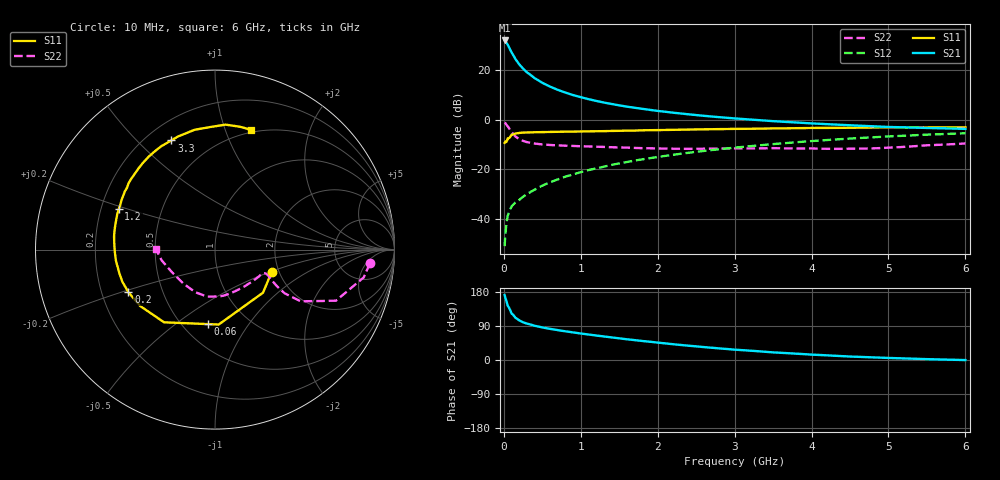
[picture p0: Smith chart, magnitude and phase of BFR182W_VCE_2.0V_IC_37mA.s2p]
! Infineon Technologies  Discrete & RF Semiconductors
! BFR182W
! VCE =  2.0 V,  IC =  37 mA
! Common Emitter S-Parameters:  Jan 2017
# GHz  S  MA  R  50
!  f  S11  S21  S12  S22
! GHz  MAG  ANG  MAG  ANG  MAG  ANG  MAG  ANG
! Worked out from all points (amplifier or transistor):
!   77 points, 10 MHz to 6 GHz, reference 50 ohm
!   highest |S21| = 31.9 dB at 10 MHz (marker M1)
!   |S21| within 3 dB of that: start of sweep to 71 MHz
!   unconditionally stable (mu >= 1): start of sweep to 10.64 MHz; 272.1 MHz to 2.873 GHz
!   at 130 MHz: K = 0.69, MSG = 29.8 dB, |S12| = -34.1 dB
!   at 2.2 GHz: K = 1.07, MAG = 6.8 dB, |S12| = -14.2 dB
!   at 6 GHz: K = 0.99, MSG = 0.9 dB, |S12| = -5.5 dB
!   S11 on the Smith chart (normalised r, x): 10 MHz: 1.82, -0.52; 60 MHz: 0.66, -0.66; 200 MHz: 0.32, -0.21; 1.2 GHz: 0.27, +0.19; 3.3 GHz: 0.30, +0.64; 6 GHz: 0.48, +1.23
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0.01  0.3396 -22.0  39.37 171.6  0.0028 73.7  0.8665 -5.1
0.02  0.3594 -41.9  38.69 163.8  0.0049 80.6  0.8431 -10.6
0.05  0.4181 -87.2  32.35 143.4  0.0114 63.0  0.7316 -22.9
0.06  0.4171 -95.6  30.16 140.4  0.0126 61.5  0.6958 -24.2
0.1  0.4946 -125.0  22.66 122.8  0.0177 57.7  0.5575 -31.1
0.15  0.5229 -143.3  16.67 111.7  0.0212 56.8  0.4571 -32.1
0.2  0.5378 -153.8  13 104.7  0.024 58.3  0.4035 -30.7
0.25  0.5464 -160.9  10.65 99.5  0.0278 60.0  0.3718 -29.1
0.3  0.5489 -166.1  8.963 96.0  0.0314 62.0  0.3508 -27.7
0.4  0.5555 -173.7  6.835 90.3  0.0385 66.1  0.3286 -25.8
0.5  0.5589 -179.2  5.505 85.9  0.0466 68.3  0.3154 -25.3
0.7  0.5671 172.6  3.978 78.9  0.0621 71.3  0.3018 -25.8
0.9  0.5723 165.9  3.117 72.8  0.0783 72.1  0.2939 -28.1
1.1  0.5793 160.0  2.582 67.3  0.0957 72.9  0.2873 -31.2
1.2  0.5815 157.2  2.379 64.6  0.1038 72.6  0.2838 -33.0
1.6  0.5981 147.1  1.824 54.7  0.1394 71.5  0.272 -41.9
2.1  0.6167 135.7  1.435 43.8  0.1853 68.2  0.2595 -56.3
3.1  0.6503 115.7  1.029 26.0  0.2808 59.4  0.2615 -87.8
3.3  0.6552 111.8  0.978 23.2  0.3002 57.4  0.2622 -93.7
4.1  0.6776 98.1  0.823 13.3  0.3775 48.6  0.2589 -118.5
5.1  0.698 83.9  0.703 4.8  0.4642 36.8  0.2758 -156.1
6  0.6975 73.1  0.649 -0.2  0.53 26.1  0.3295 179.5
